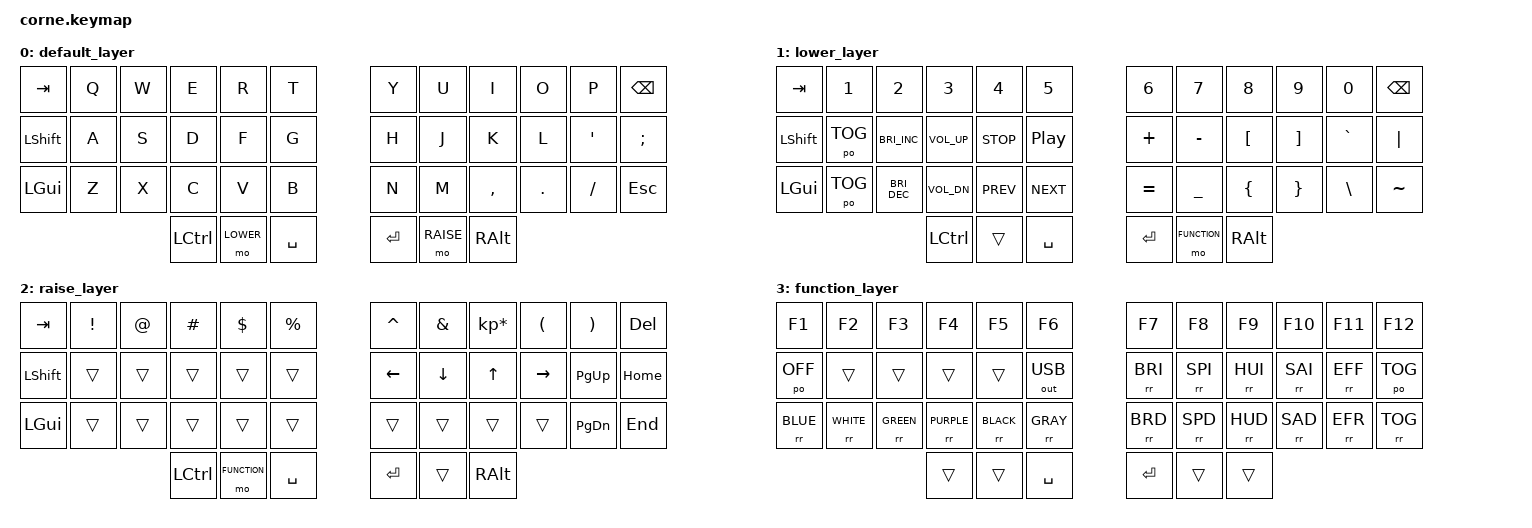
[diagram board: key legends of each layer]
#include <behaviors.dtsi>
#include <dt-bindings/zmk/keys.h>
#include <dt-bindings/zmk/rgb.h>
#include <dt-bindings/zmk/outputs.h>
#include <dt-bindings/zmk/ext_power.h>
#include <../boards/shields/corne/boards/nice_nano.overlay>

#define DEFAULT 0
#define LOWER 1
#define RAISE 2
#define FUNCTION 3
#define LRESET 4
#define RRESET 5

#define rr rgb_ug
#define po ext_power

#define BLUE RGB_COLOR_HSB(240,100,100)
#define WHITE RGB_COLOR_HSB(65,0,100)
#define GREEN RGB_COLOR_HSB(65,100,100)
#define PURPLE RGB_COLOR_HSB(280,100,100)
#define BLACK RGB_COLOR_HSB(0,100,0)
#define GRAY RGB_COLOR_HSB(0,0,50)


// Overwrite number of leds on the keyboard. A Corne has 27 per side.
&led_strip { 
    chain-length = <27>; 
};

/ {
        keymap {
                compatible = "zmk,keymap";

                default_layer {
// -----------------------------------------------------------------------------------------
// |  TAB |  q  |  w  |  e    |  r  |  t  |   |  y  |  u  |  i  |  o  |  p  | BSPC |
// | SHFT |  a  |  s  |  d    |  f  |  g  |   |  h  |  j  |  k  |  l  |  '  |  ;   |
// | LGUI |  z  |  x  |  c    |  v  |  b  |   |  n  |  m  |  ,  |  .  |  /  | ESC  |
//                    | LCTRL | LWR | SPC |   | ENT | RSE | ALT |
                        bindings = <
    &kp TAB   &kp Q &kp W &kp E     &kp R     &kp T       &kp Y   &kp U     &kp I     &kp O   &kp P    &kp BSPC
    &kp LSHFT &kp A &kp S &kp D     &kp F     &kp G       &kp H   &kp J     &kp K     &kp L   &kp SQT  &kp SEMI
    &kp LGUI  &kp Z &kp X &kp C     &kp V     &kp B       &kp N   &kp M     &kp COMMA &kp DOT &kp FSLH &kp ESC
                          &kp LCTRL &mo LOWER &kp SPACE   &kp RET &mo RAISE &kp RALT
                        >;
                };

//              shift_layer {
// -----------------------------------------------------------------------------------------
// |  TAB |  Q  |  W  |  E    |  R  |  T  |   |  Y  |  U  |  I  |  O  |  P  | BSPC |
// | XXXX |  A  |  S  |  D    |  F  |  G  |   |  H  |  J  |  K  |  L  |  "  |  :   |
// |  GUI |  Z  |  X  |  C    |  V  |  B  |   |  N  |  M  |  <  |  >  |  ?  | ESC  |
//                    | LCTRL | LWR | SPC |   | ENT | RSE | ALT |
//                        bindings = <
//    &kp TAB   &kp Q &kp W &kp E     &kp R     &kp T       &kp Y   &kp U     &kp I     &kp O   &kp P    &kp BSPC
//    &kp LSHFT &kp A &kp S &kp D     &kp F     &kp G       &kp H   &kp J     &kp K     &kp L   &kp SQT  &kp SEMI
//    &kp LGUI  &kp Z &kp X &kp C     &kp V     &kp B       &kp N   &kp M     &kp COMMA &kp DOT &kp FSLH &kp ESC
//                          &kp LCTRL &mo LOWER &kp SPACE   &kp RET &mo RAISE &kp RALT
//                        >;
//                };

                lower_layer {
// -----------------------------------------------------------------------------------------
// |  TAB |  1    |  2   |  3    |  4   |  5   |   |  6  |  7  |  8  |  9  |  0  | BSPC |
// | SHFT | EPoff | BRI+ | VOL+  | STOP | PLAY |   |  +  |  -  |  [  |  ]  |  `  |  |   |
// | LGUI | EPoff | BRI- | VOL-  | PREC | NEXT |   |  =  |  _  |  {  |  }  |  \  |  ~   |
//                       | LCTRL | XXX  | SPC  |   | ENT | FUN | ALT |
                        bindings = <
    &kp TAB   &kp N1     &kp N2        &kp N3       &kp N4     &kp N5       &kp N6    &kp N7       &kp N8   &kp N9   &kp N0    &kp BSPC
    &kp LSHFT &po EP_TOG &kp C_BRI_INC &kp C_VOL_UP &kp C_STOP &kp C_PP     &kp PLUS  &kp MINUS    &kp LBKT &kp RBKT &kp GRAVE &kp PIPE
    &kp LGUI  &po EP_TOG &kp C_BRI_DEC &kp C_VOL_DN &kp C_PREV &kp C_NEXT   &kp EQUAL &kp UNDER    &kp LBRC &kp RBRC &kp BSLH  &kp TILDE
                                       &kp LCTRL    &trans     &kp SPACE    &kp RET   &mo FUNCTION &kp RALT
                        >;
                };

                raise_layer {
// -----------------------------------------------------------------------------------------
// |  TAB |  !  |  @  |   #   |  $  |  %  |   |  ^  |  &  |  *  |  (  |  )     | DEL  |
// | SHFT |     |     |       |     |     |   | LFT | DWN |  UP | RGT | PAGEUP | HOME |
// | LGUI |     |     |       |     |     |   |     |     |     |     | PAGEDN | END  |
//                    | LCTRL | FUN | SPC |   | ENT | XXX | ALT |
                        bindings = <
    &kp  TAB  &kp EXCL &kp AT &kp HASH  &kp DLLR     &kp PRCNT    &kp CARET &kp AMPS  &kp KP_MULTIPLY &kp LPAR  &kp RPAR  &kp DELETE
    &kp LSHFT &trans   &trans &trans    &trans       &trans       &kp LEFT  &kp DOWN  &kp UP          &kp RIGHT &kp PG_UP &kp HOME
    &kp LGUI  &trans   &trans &trans    &trans       &trans       &trans    &trans    &trans          &trans    &kp PG_DN &kp END
                      	      &kp LCTRL &mo FUNCTION &kp SPACE    &kp RET   &trans    &kp RALT
                        >;
                };

                function_layer {
// ----------------------------------------------------------------------------------------------------------------
// |  F1   |  F2   |  F3   |  F4    |  F5   |  F6  |   |  F7    |  F8    |  F9    |  F10   | F11    | F12    |
// | EPoff |       |       |        |       |  USB |   | RGBbr+ | RGBsp+ | RGBhu+ | RGBsa+ | RGBef+ | EPtog  |
// | BLUE  | WHITE | GREEN | PURPLE | BLACK | GRAY |   | RGBbr- | RGBsp- | RGBhu- | RGBsa- | RGBef- | RGBtog |
//                        |        | XXXXX |  SPC |   |  ENT   | XXXXXX |        |
                        bindings = <
    &kp F1     &kp F2    &kp F3    &kp F4     &kp F5    &kp  F6        &kp F7      &kp F8      &kp F9      &kp F10     &kp F11     &kp F12
    &po EP_OFF &trans    &trans    &trans     &trans    &out OUT_USB   &rr RGB_BRI &rr RGB_SPI &rr RGB_HUI &rr RGB_SAI &rr RGB_EFF &po EP_TOG
    &rr BLUE   &rr WHITE &rr GREEN &rr PURPLE &rr BLACK &rr  GRAY      &rr RGB_BRD &rr RGB_SPD &rr RGB_HUD &rr RGB_SAD &rr RGB_EFR &rr RGB_TOG
                    	           &trans     &trans    &kp  SPACE     &kp RET     &trans      &trans
                        >;
                };
        };
};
